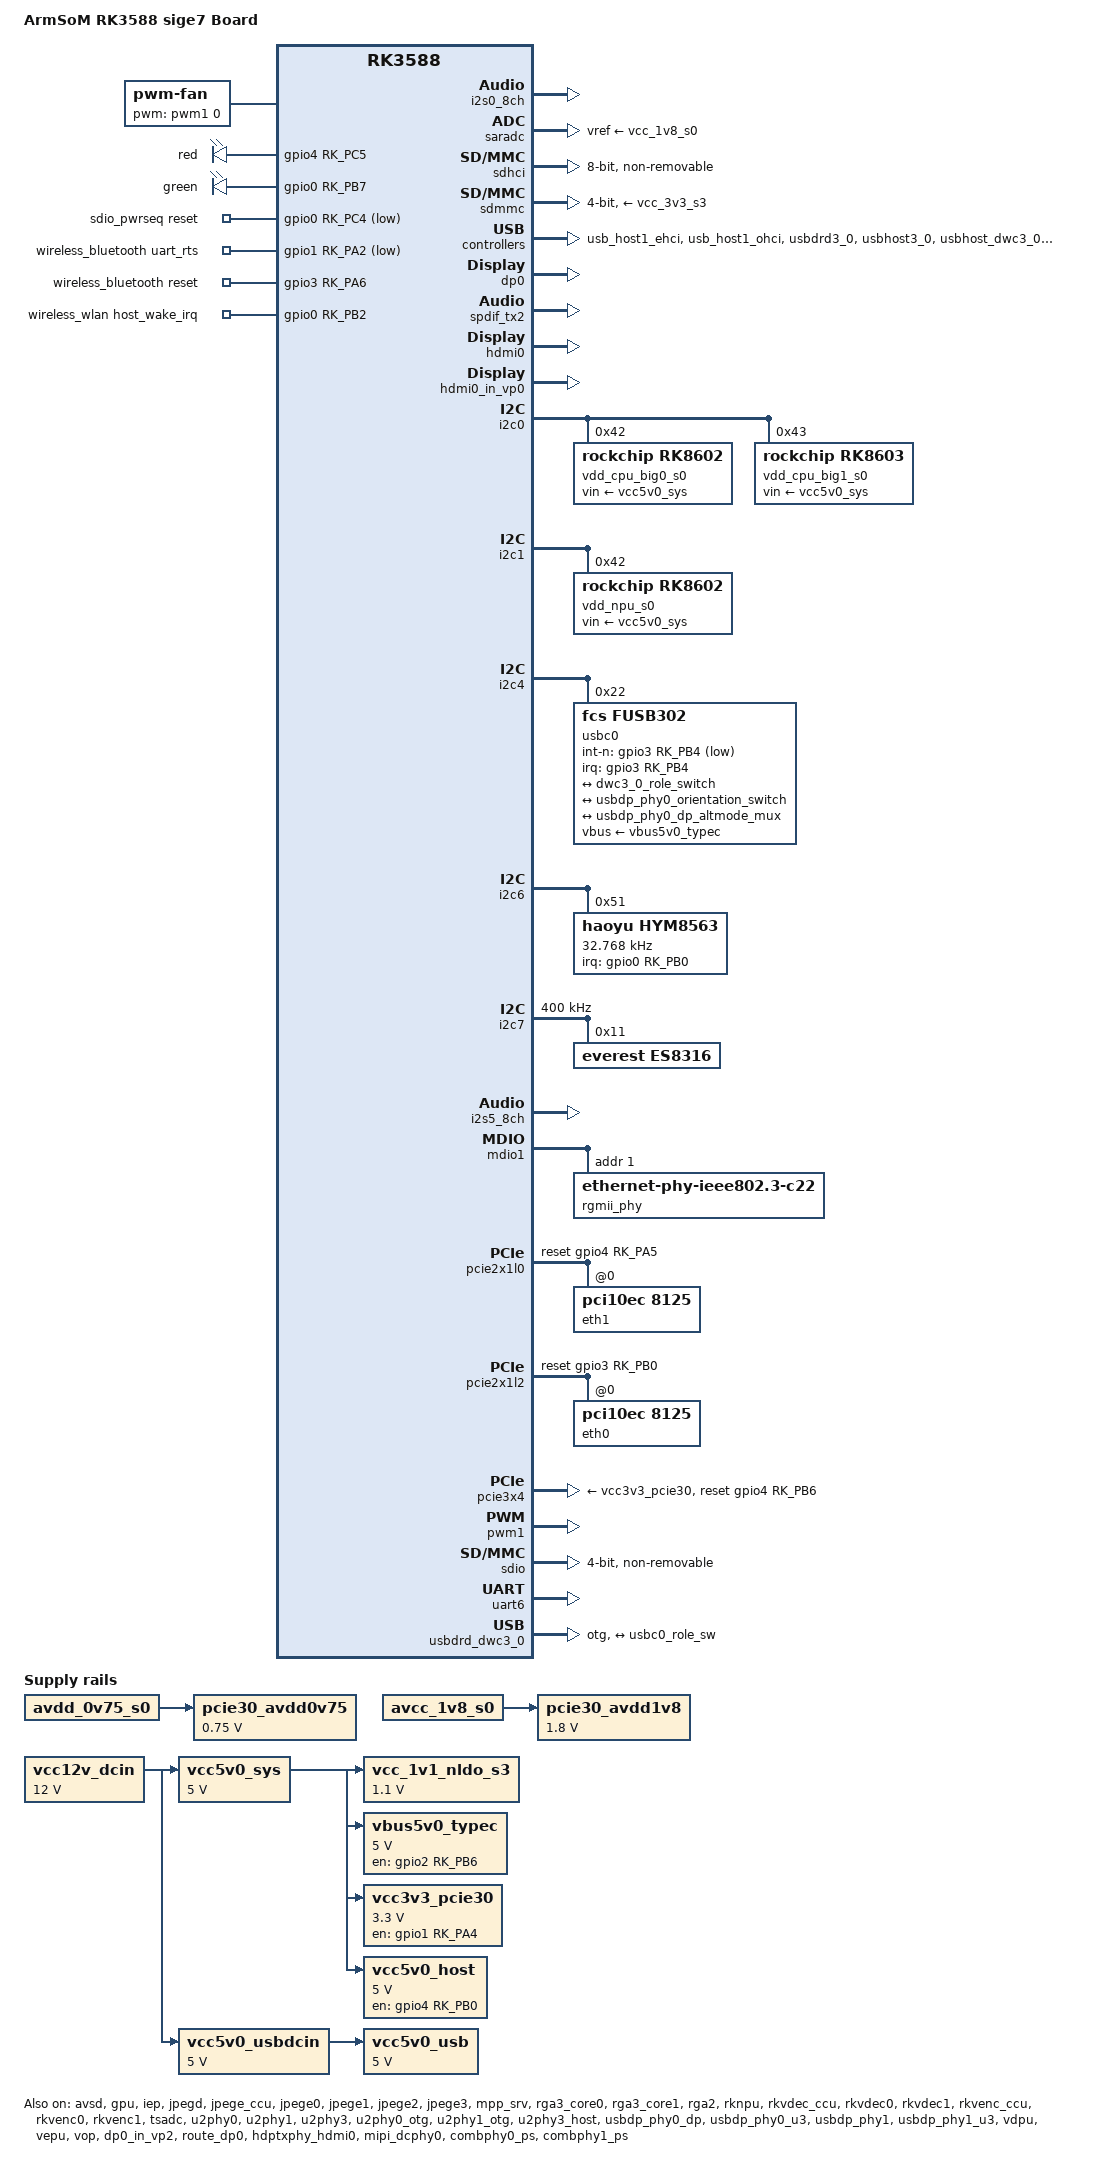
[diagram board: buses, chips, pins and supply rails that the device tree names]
// SPDX-License-Identifier: (GPL-2.0+ OR MIT)
/*
 * Copyright (c) 2023 Rockchip Electronics Co., Ltd.
 * Copyright (c) 2023 Rockchip rk3588-evb7-v11, Lhd.
 */

/dts-v1/;

#include <dt-bindings/gpio/gpio.h>
#include <dt-bindings/leds/common.h>
#include <dt-bindings/pwm/pwm.h>
#include <dt-bindings/pinctrl/rockchip.h>
#include <dt-bindings/input/rk-input.h>
#include <dt-bindings/display/drm_mipi_dsi.h>
#include <dt-bindings/display/rockchip_vop.h>
#include <dt-bindings/sensor-dev.h>
#include "dt-bindings/usb/pd.h"
#include "rk3588.dtsi"
#include "rk3588-rk806-single.dtsi"
#include "rk3588-linux.dtsi"

/ {
	model = "ArmSoM RK3588 sige7 Board";
	compatible = "armsom,sige7-v1", "rockchip,rk3588";

	aliases {
		led-boot = &work_led;
		led-failsafe = &work_led;
		led-running = &work_led;
		led-upgrade = &work_led;
	};

	vcc12v_dcin: vcc12v-dcin {
		compatible = "regulator-fixed";
		regulator-name = "vcc12v_dcin";
		regulator-always-on;
		regulator-boot-on;
		regulator-min-microvolt = <12000000>;
		regulator-max-microvolt = <12000000>;
	};

	vcc5v0_sys: vcc5v0-sys {
		compatible = "regulator-fixed";
		regulator-name = "vcc5v0_sys";
		regulator-always-on;
		regulator-boot-on;
		regulator-min-microvolt = <5000000>;
		regulator-max-microvolt = <5000000>;
		vin-supply = <&vcc12v_dcin>;
	};

	vcc5v0_usbdcin: vcc5v0-usbdcin {
		compatible = "regulator-fixed";
		regulator-name = "vcc5v0_usbdcin";
		regulator-always-on;
		regulator-boot-on;
		regulator-min-microvolt = <5000000>;
		regulator-max-microvolt = <5000000>;
		vin-supply = <&vcc12v_dcin>;
	};

	vcc5v0_usb: vcc5v0-usb {
		compatible = "regulator-fixed";
		regulator-name = "vcc5v0_usb";
		regulator-always-on;
		regulator-boot-on;
		regulator-min-microvolt = <5000000>;
		regulator-max-microvolt = <5000000>;
		vin-supply = <&vcc5v0_usbdcin>;
	};

		/* If hdmirx node is disabled, delete the reserved-memory node here. */
	reserved-memory {
		#address-cells = <2>;
		#size-cells = <2>;
		ranges;

		/* Reserve 128MB memory for hdmirx-controller@fdee0000 */
		cma {
			compatible = "shared-dma-pool";
			reusable;
			reg = <0x0 (256 * 0x100000) 0x0 (128 * 0x100000)>;
			linux,cma-default;
		};
	};


	fan: pwm-fan {
		compatible = "pwm-fan";
		cooling-levels = <0 0x55 0x66 0x77 0x88 0x99 0xbb 0xcc 0xff>;
		#cooling-cells = <2>;
		pwms = <&pwm1 0 50000 0>;
	};

	hdmi0_sound: hdmi0-sound {
		status = "disabled";
		compatible = "rockchip,hdmi";
		rockchip,mclk-fs = <128>;
		rockchip,card-name = "rockchip-hdmi0";
		rockchip,cpu = <&i2s5_8ch>;
		rockchip,codec = <&hdmi0>;
		rockchip,jack-det;
	};

	dp0_sound: dp0-sound {
		status = "disabled";
		compatible = "rockchip,hdmi";
		rockchip,card-name= "rockchip-dp0";
		rockchip,mclk-fs = <512>;
		rockchip,cpu = <&spdif_tx2>;
		rockchip,codec = <&dp0 1>;
		rockchip,jack-det;
	};

	leds: leds {
		compatible = "gpio-leds";
		pinctrl-names = "default";
		pinctrl-0 = <&led_red_pin>, <&led_green_pin>;

		work_led: work {
			label = "red";
			gpios = <&gpio4 RK_PC5 GPIO_ACTIVE_HIGH>;
			linux,default-trigger = "heartbeat";
		};

		active_led: active {
			label = "green";
			gpios = <&gpio0 RK_PB7 GPIO_ACTIVE_HIGH>;
			linux,default-trigger = "none";
		};
	};

    es8316_sound: es8316-sound {
		status = "okay";
		compatible = "simple-audio-card";
		simple-audio-card,format = "i2s";
		simple-audio-card,mclk-fs = <256>;
		simple-audio-card,name = "rockchip-es8316";
		simple-audio-card,dai-link@0 {
			format = "i2s";
			cpu {
				sound-dai = <&i2s0_8ch>;
			};
			codec {
				sound-dai = <&es8316>;
			};
		};
	};

	pcie30_avdd0v75: pcie30-avdd0v75 {
		compatible = "regulator-fixed";
		regulator-name = "pcie30_avdd0v75";
		regulator-boot-on;
		regulator-always-on;
		regulator-min-microvolt = <750000>;
		regulator-max-microvolt = <750000>;
		vin-supply = <&avdd_0v75_s0>;
	};

	pcie30_avdd1v8: pcie30-avdd1v8 {
		compatible = "regulator-fixed";
		regulator-name = "pcie30_avdd1v8";
		regulator-boot-on;
		regulator-always-on;
		regulator-min-microvolt = <1800000>;
		regulator-max-microvolt = <1800000>;
		vin-supply = <&avcc_1v8_s0>;
	};

	vcc_1v1_nldo_s3: vcc-1v1-nldo-s3 {
		compatible = "regulator-fixed";
		regulator-name = "vcc_1v1_nldo_s3";
		regulator-always-on;
		regulator-boot-on;
		regulator-min-microvolt = <1100000>;
		regulator-max-microvolt = <1100000>;
		vin-supply = <&vcc5v0_sys>;
	};

	vbus5v0_typec: vbus5v0-typec {
		compatible = "regulator-fixed";
		regulator-name = "vbus5v0_typec";
		regulator-min-microvolt = <5000000>;
		regulator-max-microvolt = <5000000>;
		enable-active-high;
		gpio = <&gpio2 RK_PB6 GPIO_ACTIVE_HIGH>;
		vin-supply = <&vcc5v0_sys>;
		pinctrl-names = "default";
		pinctrl-0 = <&typec5v_pwren>;
	};

	vcc3v3_pcie30: vcc3v3-pcie30 {
		compatible = "regulator-fixed";
		regulator-name = "vcc3v3_pcie30";
		regulator-min-microvolt = <3300000>;
		regulator-max-microvolt = <3300000>;
		enable-active-high;
		gpios = <&gpio1 RK_PA4 GPIO_ACTIVE_HIGH>;
		startup-delay-us = <5000>;
		vin-supply = <&vcc5v0_sys>;
	};

	vcc5v0_host: vcc5v0-host {
		compatible = "regulator-fixed";
		regulator-name = "vcc5v0_host";
		regulator-boot-on;
		regulator-always-on;
		regulator-min-microvolt = <5000000>;
		regulator-max-microvolt = <5000000>;
		enable-active-high;
		gpio = <&gpio4 RK_PB0 GPIO_ACTIVE_HIGH>;
		vin-supply = <&vcc5v0_sys >;
		pinctrl-names = "default";
		pinctrl-0 = <&vcc5v0_host_en>;
	};

	sdio_pwrseq: sdio-pwrseq {
		compatible = "mmc-pwrseq-simple";
		clocks = <&hym8563>;
		clock-names = "ext_clock";
		pinctrl-names = "default";
		pinctrl-0 = <&wifi_enable_h>;
		reset-gpios = <&gpio0 RK_PC4 GPIO_ACTIVE_LOW>;
	};

	wireless_bluetooth: wireless-bluetooth {
		compatible = "bluetooth-platdata";
		clocks = <&hym8563>;
		clock-names = "ext_clock";
		uart_rts_gpios = <&gpio1 RK_PA2 GPIO_ACTIVE_LOW>;
		pinctrl-names = "default", "rts_gpio";
		pinctrl-0 = <&uart6m1_rtsn>;
		pinctrl-1 = <&uart6_gpios>;
		BT,reset_gpio = <&gpio3 RK_PA6 GPIO_ACTIVE_HIGH>;
		status = "okay";
	};

	wireless_wlan: wireless-wlan {
		compatible = "wlan-platdata";
		wifi_chip_type = "ap6275s";
		pinctrl-names = "default";
		pinctrl-0 = <&wifi_host_wake_irq>;
		WIFI,host_wake_irq = <&gpio0 RK_PB2 GPIO_ACTIVE_HIGH>;
		status = "okay";
	};
};

//=============================================================

&av1d_mmu {
	status = "okay";
};

&avsd {
	status = "okay";
};

&cpu_l0 {
	cpu-supply = <&vdd_cpu_lit_s0>;
	mem-supply = <&vdd_cpu_lit_mem_s0>;
};

&cpu_b0 {
	cpu-supply = <&vdd_cpu_big0_s0>;
	mem-supply = <&vdd_cpu_big0_mem_s0>;
};

&cpu_b2 {
	cpu-supply = <&vdd_cpu_big1_s0>;
	mem-supply = <&vdd_cpu_big1_mem_s0>;
};


&gpu {
	mali-supply = <&vdd_gpu_s0>;
	mem-supply = <&vdd_gpu_mem_s0>;
	status = "okay";
};

&i2s0_8ch {
	status = "okay";
	pinctrl-0 = <&i2s0_lrck
		     &i2s0_sclk
		     &i2s0_sdi0
		     &i2s0_sdo0>;
};

&i2s2_2ch {
	pinctrl-0 = <&i2s2m1_lrck &i2s2m1_sclk &i2s2m1_sdi &i2s2m1_sdo>;
	rockchip,bclk-fs = <32>;
	status = "disabled";
};

&iep {
	status = "okay";
};

&iep_mmu {
	status = "okay";
};

&jpegd {
	status = "okay";
};

&jpegd_mmu {
	status = "okay";
};

&jpege_ccu {
	status = "okay";
};

&jpege0 {
	status = "okay";
};

&jpege0_mmu {
	status = "okay";
};

&jpege1 {
	status = "okay";
};

&jpege1_mmu {
	status = "okay";
};

&jpege2 {
	status = "okay";
};

&jpege2_mmu {
	status = "okay";
};

&jpege3 {
	status = "okay";
};

&jpege3_mmu {
	status = "okay";
};

&mpp_srv {
	status = "okay";
};

&rga3_core0 {
	status = "okay";
};

&rga3_0_mmu {
	status = "okay";
};

&rga3_core1 {
	status = "okay";
};

&rga3_1_mmu {
	status = "okay";
};

&rga2 {
	status = "okay";
};

&rknpu {
	rknpu-supply = <&vdd_npu_s0>;
	mem-supply = <&vdd_npu_mem_s0>;
	status = "okay";
};

&rknpu_mmu {
	status = "okay";
};

&rkvdec_ccu {
	status = "okay";
};

&rkvdec0 {
	status = "okay";
};

&rkvdec0_mmu {
	status = "okay";
};

&rkvdec1 {
	status = "okay";
};

&rkvdec1_mmu {
	status = "okay";
};

&rkvenc_ccu {
	status = "okay";
};

&rkvenc0 {
	venc-supply = <&vdd_vdenc_s0>;
	mem-supply = <&vdd_vdenc_mem_s0>;
	status = "okay";
};

&rkvenc0_mmu {
	status = "okay";
};

&rkvenc1 {
	venc-supply = <&vdd_vdenc_s0>;
	mem-supply = <&vdd_vdenc_mem_s0>;
	status = "okay";
};

&rkvenc1_mmu {
	status = "okay";
};

&rockchip_suspend {
	status = "okay";
	rockchip,sleep-debug-en = <1>;
};

&saradc {
	status = "okay";
	vref-supply = <&vcc_1v8_s0>;
};

&sdhci {
	bus-width = <8>;
	no-sdio;
	no-sd;
	non-removable;
	max-frequency = <200000000>;
	mmc-hs400-1_8v;
	mmc-hs400-enhanced-strobe;
	full-pwr-cycle-in-suspend;
	status = "okay";
};

&sdmmc {
	max-frequency = <150000000>;
	no-sdio;
	no-mmc;
	bus-width = <4>;
	cap-mmc-highspeed;
	cap-sd-highspeed;
	disable-wp;
	sd-uhs-sdr104;
	vqmmc-supply = <&vccio_sd_s0>;
	status = "disabled";
};

&tsadc {
	status = "okay";
};

&u2phy0 {
	status = "okay";
};

&u2phy1 {
	status = "okay";
};

&u2phy3 {
	status = "okay";
};

&u2phy0_otg {
	rockchip,typec-vbus-det;
	status = "okay";
};

&u2phy1_otg {
	phy-supply = <&vcc5v0_host>;
	status = "okay";
};

&u2phy3_host {
	phy-supply = <&vcc5v0_host>;
	status = "okay";
};

&usb_host1_ehci {
	status = "okay";
};

&usb_host1_ohci {
	status = "okay";
};

&usbdp_phy0_dp {
	status = "okay";
};

&usbdp_phy0_u3 {
	status = "okay";
};

&usbdp_phy1 {
	status = "okay";
};

&usbdp_phy1_dp {
	status = "disabled";
};

&usbdp_phy1_u3 {
	status = "okay";
};

&usbdrd3_0 {
	status = "okay";
};

&usbhost3_0 {
	status = "okay";
};

&usbhost_dwc3_0 {
	status = "okay";
};

&usbdrd3_1 {
	status = "okay";
};

&usbdrd_dwc3_1 {
	status = "okay";
};

&vdpu {
	status = "okay";
};

&vdpu_mmu {
	status = "okay";
};

&vepu {
	status = "okay";
};

&vop {
	status = "okay";
};

&vop_mmu {
	status = "okay";
};

/* vp0 & vp1 splice for 8K output */
&vp0 {
	rockchip,plane-mask = <(1 << ROCKCHIP_VOP2_CLUSTER0 | 1 << ROCKCHIP_VOP2_ESMART0)>;
	rockchip,primary-plane = <ROCKCHIP_VOP2_ESMART0>;
};

&vp1 {
	rockchip,plane-mask = <(1 << ROCKCHIP_VOP2_CLUSTER1 | 1 << ROCKCHIP_VOP2_ESMART1)>;
	rockchip,primary-plane = <ROCKCHIP_VOP2_ESMART1>;
};

&vp2 {
	rockchip,plane-mask = <(1 << ROCKCHIP_VOP2_CLUSTER2 | 1 << ROCKCHIP_VOP2_ESMART2)>;
	rockchip,primary-plane = <ROCKCHIP_VOP2_ESMART2>;
};

&vp3 {
	rockchip,plane-mask = <(1 << ROCKCHIP_VOP2_CLUSTER3 | 1 << ROCKCHIP_VOP2_ESMART3)>;
	rockchip,primary-plane = <ROCKCHIP_VOP2_ESMART3>;
};

//=============================================================

&dp0 {
	status = "okay";
};
&dp0_in_vp2 {
	status = "okay";
};

&dp0_sound{
	status = "okay";
};

&route_dp0 {
	status = "okay";
	connect = <&vp2_out_dp0>;
};

&spdif_tx2 {
	status = "okay";
};

&hdmi0 {
	status = "okay";
};

&hdmi0_in_vp0 {
	status = "okay";
};

&hdmi0_sound {
	status = "okay";
};

&hdptxphy_hdmi0 {
	status = "okay";
};

&hdptxphy_hdmi1 {
	status = "disabled";
};

&i2c0 {
	status = "okay";
	pinctrl-names = "default";
	pinctrl-0 = <&i2c0m2_xfer>;

	vdd_cpu_big0_s0: vdd_cpu_big0_mem_s0: rk8602@42 {
		compatible = "rockchip,rk8602";
		reg = <0x42>;
		vin-supply = <&vcc5v0_sys>;
		regulator-compatible = "rk860x-reg";
		regulator-name = "vdd_cpu_big0_s0";
		regulator-min-microvolt = <550000>;
		regulator-max-microvolt = <1050000>;
		regulator-ramp-delay = <2300>;
		rockchip,suspend-voltage-selector = <1>;
		regulator-boot-on;
		regulator-always-on;
		regulator-state-mem {
			regulator-off-in-suspend;
		};
	};

	vdd_cpu_big1_s0: vdd_cpu_big1_mem_s0: rk8603@43 {
		compatible = "rockchip,rk8603";
		reg = <0x43>;
		vin-supply = <&vcc5v0_sys>;
		regulator-compatible = "rk860x-reg";
		regulator-name = "vdd_cpu_big1_s0";
		regulator-min-microvolt = <550000>;
		regulator-max-microvolt = <1050000>;
		regulator-ramp-delay = <2300>;
		rockchip,suspend-voltage-selector = <1>;
		regulator-boot-on;
		regulator-always-on;
		regulator-state-mem {
			regulator-off-in-suspend;
		};
	};
};

&i2c1 {
	status = "okay";
	pinctrl-names = "default";
	pinctrl-0 = <&i2c1m2_xfer>;

	vdd_npu_s0: vdd_npu_mem_s0: rk8602@42 {
		compatible = "rockchip,rk8602";
		reg = <0x42>;
		vin-supply = <&vcc5v0_sys>;
		regulator-compatible = "rk860x-reg";
		regulator-name = "vdd_npu_s0";
		regulator-min-microvolt = <550000>;
		regulator-max-microvolt = <950000>;
		regulator-ramp-delay = <2300>;
		rockchip,suspend-voltage-selector = <1>;
		regulator-boot-on;
		regulator-always-on;
		regulator-state-mem {
			regulator-off-in-suspend;
		};
	};
};

&i2c4 {
	status = "okay";
	pinctrl-names = "default";
	pinctrl-0 = <&i2c4m1_xfer>;

	usbc0: fusb302@22 {
		compatible = "fcs,fusb302";
		reg = <0x22>;
		interrupt-parent = <&gpio3>;
		interrupts = <RK_PB4 IRQ_TYPE_LEVEL_LOW>;
		int-n-gpios = <&gpio3 RK_PB4 GPIO_ACTIVE_LOW>;
		pinctrl-names = "default";
		pinctrl-0 = <&usbc0_int>;
		//vbus-supply = <&vcc12v_dcin>;
		vbus-supply = <&vbus5v0_typec>;
		status = "okay";

		ports {
			#address-cells = <1>;
			#size-cells = <0>;

			port@0 {
				reg = <0>;
				usbc0_role_sw: endpoint@0 {
					remote-endpoint = <&dwc3_0_role_switch>;
				};
			};
		};

		usb_con: connector {
			compatible = "usb-c-connector";
			label = "USB-C";
			data-role = "dual";
			power-role = "dual";
			try-power-role = "sink";
			op-sink-microwatt = <1000000>;
			sink-pdos =
				<PDO_FIXED(5000, 3000, PDO_FIXED_USB_COMM)
				 PDO_FIXED(9000, 3000, PDO_FIXED_USB_COMM)
				 PDO_FIXED(12000, 3000, PDO_FIXED_USB_COMM)>;
			source-pdos =
				<PDO_FIXED(5000, 3000, PDO_FIXED_USB_COMM)>;

			altmodes {
				#address-cells = <1>;
				#size-cells = <0>;

				altmode@0 {
					reg = <0>;
					svid = <0xff01>;
					vdo = <0xffffffff>;
				};
			};

			ports {
				#address-cells = <1>;
				#size-cells = <0>;

				port@0 {
					reg = <0>;
					usbc0_orien_sw: endpoint {
						remote-endpoint = <&usbdp_phy0_orientation_switch>;
					};
				};

				port@1 {
					reg = <1>;
					dp_altmode_mux: endpoint {
						remote-endpoint = <&usbdp_phy0_dp_altmode_mux>;
					};
				};
			};
		};
	};
};

&i2c5 {
	status = "disabled";
};

&i2c6 {
	status = "okay";
	hym8563: hym8563@51 {
		compatible = "haoyu,hym8563";
		reg = <0x51>;
		#clock-cells = <0>;
		clock-frequency = <32768>;
		clock-output-names = "hym8563";
		pinctrl-names = "default";
		pinctrl-0 = <&hym8563_int>;
		interrupt-parent = <&gpio0>;
		interrupts = <RK_PB0 IRQ_TYPE_LEVEL_LOW>;
	};
};

&i2c7 {
	status = "okay";
	i2c-scl-rising-time-ns = <265>;
	i2c-scl-falling-time-ns = <26>;
	clock-frequency = <400000>;

	es8316: es8316@11 {
		status = "okay";
		#sound-dai-cells = <0>;
		compatible = "everest,es8316";
		reg = <0x11>;
		clocks = <&cru I2S0_8CH_MCLKOUT>;
		clock-names = "mclk";
		assigned-clocks = <&cru I2S0_8CH_MCLKOUT>;
		assigned-clock-rates = <12288000>;
		pinctrl-names = "default";
		pinctrl-0 = <&i2s0_mclk>;
	};
};


&i2s5_8ch {
	status = "okay";
};

&mdio1 {
	rgmii_phy: phy@1 {
		compatible = "ethernet-phy-ieee802.3-c22";
		reg = <0x1>;
	};
};

&mipi_dcphy0 {
	status = "okay";
};

&mipi_dcphy1 {
	status = "disabled";
};




&combphy0_ps {
	status = "okay";
};

&combphy1_ps {
	status = "okay";
};

&combphy2_psu {
	status = "okay";
};

&pcie2x1l0 {
	reset-gpios = <&gpio4 RK_PA5 GPIO_ACTIVE_HIGH>;
	rockchip,init-delay-ms = <100>;
	status = "okay";

	pcie@0,0 {
		reg = <0x00200000 0 0 0 0>;
		#address-cells = <3>;
		#size-cells = <2>;

		rtl8125_1: pcie@20,0 {
			compatible = "pci10ec,8125";
			reg = <0x000000 0 0 0 0>;

			realtek,led-data = <0x0 0x2b 0x200 0x0>;
			label = "eth1";
		};
	};
};

&pcie2x1l2 {
	reset-gpios = <&gpio3 RK_PB0 GPIO_ACTIVE_HIGH>;
	rockchip,init-delay-ms = <100>;
	status = "okay";

	pcie@0,0 {
		reg = <0x00400000 0 0 0 0>;
		#address-cells = <3>;
		#size-cells = <2>;

		rtl8125_2: pcie@40,0 {
			compatible = "pci10ec,8125";
			reg = <0x000000 0 0 0 0>;

			realtek,led-data = <0x0 0x2b 0x200 0x0>;
			label = "eth0";
		};
	};
};

&pcie30phy {
	rockchip,pcie30-phymode = <PHY_MODE_PCIE_AGGREGATION>;
	status = "okay";
};

&pcie3x4 {
	reset-gpios = <&gpio4 RK_PB6 GPIO_ACTIVE_HIGH>;
	vpcie3v3-supply = <&vcc3v3_pcie30>;
	status = "okay";
};

&pinctrl {
	cam {
		mipicsi0_pwr: mipicsi0-pwr {
			rockchip,pins =
				/* camera power en */
				<1 RK_PD2 RK_FUNC_GPIO &pcfg_pull_none>;
		};
		mipicsi1_pwr: mipicsi1-pwr {
			rockchip,pins =
				/* camera power en */
				<1 RK_PD3 RK_FUNC_GPIO &pcfg_pull_none>;
		};
		mipidcphy0_pwr: mipidcphy0-pwr {
			rockchip,pins =
				/* camera power en */
				<2 RK_PC4 RK_FUNC_GPIO &pcfg_pull_none>;
		};
	};

	hym8563 {
		hym8563_int: hym8563-int {
			rockchip,pins = <0 RK_PB0 RK_FUNC_GPIO &pcfg_pull_none>;
		};
	};

	lcd {
		lcd_rst_gpio: lcd-rst-gpio {
			rockchip,pins = <0 RK_PD3 RK_FUNC_GPIO &pcfg_pull_none>;
		};
	};

	sdio-pwrseq {
		wifi_enable_h: wifi-enable-h {
			rockchip,pins = <0 RK_PC4 RK_FUNC_GPIO &pcfg_pull_none>;
		};
	};

	sdmmc {
		sd_s0_pwr: sd-s0-pwr {
			rockchip,pins = <0 RK_PB7 RK_FUNC_GPIO &pcfg_pull_up>;
		};
	};

	touch {
		touch_gpio: touch-gpio {
			rockchip,pins =
				<3 RK_PC1 RK_FUNC_GPIO &pcfg_pull_down>,
				<3 RK_PC0 RK_FUNC_GPIO &pcfg_pull_up>;
		};
	};

	usb {
		vcc5v0_host_en: vcc5v0-host-en {
			rockchip,pins = <4 RK_PB0 RK_FUNC_GPIO &pcfg_pull_none>;
		};
	};

	usb-typec {
		usbc0_int: usbc0-int {
			rockchip,pins = <3 RK_PB4 RK_FUNC_GPIO &pcfg_pull_up>;
		};

		typec5v_pwren: typec5v-pwren {
			rockchip,pins = <2 RK_PB6 RK_FUNC_GPIO &pcfg_pull_none>;
		};
	};

	wireless-bluetooth {
		uart6_gpios: uart6-gpios {
			rockchip,pins = <1 RK_PA2 RK_FUNC_GPIO &pcfg_pull_none>;
		};
	};

	wireless-wlan {
		wifi_host_wake_irq: wifi-host-wake-irq {
			rockchip,pins = <0 RK_PB2 RK_FUNC_GPIO &pcfg_pull_down>;
		};
	};

	leds {
		led_red_pin: led-red-pin {
			rockchip,pins = <4 RK_PC5 RK_FUNC_GPIO &pcfg_pull_none>;
		};
		led_green_pin: led-green-pin {
			rockchip,pins = <0 RK_PB7 RK_FUNC_GPIO &pcfg_pull_none>;
		};
	};
};

&pwm1 {
	status = "okay";
};

&pwm3 {
	pinctrl-0 = <&pwm3m1_pins>;
	status = "disabled";
};

&route_dsi0 {
	status = "disabled";
	connect = <&vp3_out_dsi0>;
};

&route_dsi1 {
	status = "disabled";
	connect = <&vp3_out_dsi1>;
};

&route_hdmi0 {
	status = "okay";
};


&leds {
	status = "okay";
};


&sdhci {
	bus-width = <8>;
	no-sdio;
	no-sd;
	non-removable;
	max-frequency = <200000000>;
	mmc-hs400-1_8v;
	status = "okay";
};

&sdio {
	max-frequency = <150000000>;
	supports-sdio;
	bus-width = <4>;
	disable-wp;
	cap-sd-highspeed;
	cap-sdio-irq;
	keep-power-in-suspend;
	mmc-pwrseq = <&sdio_pwrseq>;
	non-removable;
	num-slots = <1>;
	pinctrl-names = "default";
	pinctrl-0 = <&sdiom0_pins>;
	sd-uhs-sdr104;
	status = "okay";
};

&sdmmc {
	max-frequency = <200000000>;
	no-sdio;
	no-mmc;
	bus-width = <4>;
	cap-mmc-highspeed;
	cap-sd-highspeed;
	disable-wp;
	sd-uhs-sdr104;
	vmmc-supply = <&vcc_3v3_s3>;
	vqmmc-supply = <&vccio_sd_s0>;
	pinctrl-names = "default";
	pinctrl-0 = <&sdmmc_bus4 &sdmmc_clk &sdmmc_cmd &sdmmc_det>;
	status = "okay";
};

&uart6 {
	status = "okay";
	pinctrl-names = "default";
	pinctrl-0 = <&uart6m1_xfer &uart6m1_ctsn>;
};

&usbdp_phy0 {
	status = "okay";
	orientation-switch;
	svid = <0xff01>;
	sbu1-dc-gpios = <&gpio4 RK_PA6 GPIO_ACTIVE_HIGH>;
	sbu2-dc-gpios = <&gpio4 RK_PA7 GPIO_ACTIVE_HIGH>;

	port {
		#address-cells = <1>;
		#size-cells = <0>;
		usbdp_phy0_orientation_switch: endpoint@0 {
			reg = <0>;
			remote-endpoint = <&usbc0_orien_sw>;
		};

		usbdp_phy0_dp_altmode_mux: endpoint@1 {
			reg = <1>;
			remote-endpoint = <&dp_altmode_mux>;
		};
	};
};

&usbdrd_dwc3_0 {
	status = "okay";
	dr_mode = "otg";
	usb-role-switch;
	port {
		#address-cells = <1>;
		#size-cells = <0>;
		dwc3_0_role_switch: endpoint@0 {
			reg = <0>;
			remote-endpoint = <&usbc0_role_sw>;
		};
	};
};
&soc_thermal {
	trips {
		cpu_warm: cpu_warm {
			temperature = <65000>;
			hysteresis = <5000>;
			type = "active";
		};

		cpu_hot: cpu_hot {
			temperature = <85000>;
			hysteresis = <5000>;
			type = "active";
		};

		cpu_hall: cpu_hall {
			temperature = <95000>;
			hysteresis = <5000>;
			type = "active";
		};

		cpu_idle: cpu_idle {
			temperature = <20000>;
			hysteresis = <3000>;
			type = "passive";
		};
	};

	cooling-maps {
		map4 {
			trip = <&cpu_idle>;
			cooling-device = <&fan THERMAL_NO_LIMIT 2>;
		};

		map5 {
			trip = <&cpu_warm>;
			cooling-device = <&fan 2 4>;
		};

		map6 {
			trip = <&cpu_hot>;
			cooling-device = <&fan 4 6>;
		};

		map7 {
			trip = <&cpu_hall>;
			cooling-device = <&fan 6 THERMAL_NO_LIMIT>;
		};

	};
};
